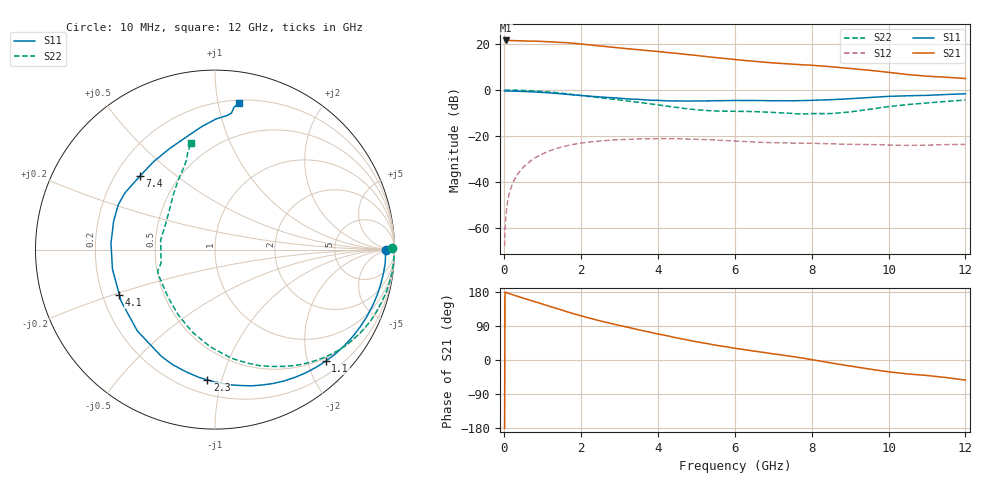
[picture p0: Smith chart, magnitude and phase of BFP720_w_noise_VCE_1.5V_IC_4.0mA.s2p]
! Infineon Technologies  Discrete & RF Semiconductors
! BFP720
! VCE =  1.5 V,  IC =  4.0 mA
! Common Emitter S-Parameters:  Aug 2012
# GHz  S  MA  R  50
!  f  S11  S21  S12  S22
! GHz  MAG  ANG  MAG  ANG  MAG  ANG  MAG  ANG
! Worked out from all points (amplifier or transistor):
!   105 points, 10 MHz to 12 GHz, reference 50 ohm
!   highest |S21| = 21.6 dB at 50 MHz (marker M1)
!   |S21| within 3 dB of that: start of sweep to 2.852 GHz
!   unconditionally stable (mu >= 1): 6.954 GHz to 11.82 GHz
!   at 300 MHz: K = 0.03, MSG = 29.7 dB, |S12| = -37.9 dB
!   at 3.6 GHz: K = 0.43, MSG = 19.3 dB, |S12| = -21.3 dB
!   at 12 GHz: K = 0.93, MSG = 14.3 dB, |S12| = -23.7 dB
!   lowest NFmin = 0.37 dB at 450 MHz
!   S11 on the Smith chart (normalised r, x): 10 MHz: 40, +0; 1.1 GHz: 0.44, -2.33; 2.3 GHz: 0.29, -0.90; 4.1 GHz: 0.27, -0.21; 7.4 GHz: 0.30, +0.37; 12 GHz: 0.22, +1.15
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0.01  0.9507 -0.0  11.94 -179.8  0.0004 -39.9  0.9877 0.5
0.02  0.9513 -0.8  11.84 178.9  0.0008 91.8  0.9984 -0.5
0.05  0.9504 -1.9  12 177.9  0.002 88.7  0.9976 -1.5
0.14  0.95 -5.6  11.99 175.0  0.006 86.4  0.9976 -4.2
0.35  0.9401 -14.1  11.84 168.0  0.0148 81.0  0.9895 -10.5
0.8  0.9068 -32.6  11.61 153.8  0.0333 69.2  0.9546 -24.1
1.1  0.876 -45.2  11.3 144.3  0.0446 61.0  0.9166 -33.3
1.6  0.8124 -66.8  10.78 128.4  0.0605 48.0  0.8332 -48.0
1.8  0.7861 -74.9  10.42 122.3  0.0656 42.9  0.7964 -53.6
2.1  0.748 -86.3  9.845 113.8  0.0717 36.1  0.7426 -61.2
2.3  0.727 -93.4  9.46 108.4  0.0751 31.7  0.7094 -66.2
3  0.6652 -116.8  8.265 91.1  0.0832 18.9  0.6085 -81.9
3.5  0.6266 -133.7  7.557 79.6  0.0862 10.8  0.5412 -93.0
4.1  0.5893 -154.7  6.756 66.7  0.0873 2.2  0.4634 -107.7
4.5  0.5816 -169.2  6.274 58.1  0.0872 -3.2  0.418 -119.2
5  0.5805 176.5  5.662 48.0  0.085 -9.2  0.3732 -134.3
6.1  0.5932 153.9  4.536 29.6  0.077 -18.4  0.3438 -156.3
7.4  0.5852 135.7  3.707 10.7  0.0705 -22.2  0.3126 -165.4
8.5  0.6172 114.2  3.216 -7.7  0.0674 -26.3  0.3075 154.8
9.5  0.6881 96.4  2.694 -23.8  0.0651 -27.7  0.3808 127.9
10.5  0.7504 84.8  2.173 -36.8  0.0625 -28.5  0.4836 111.5
12  0.8293 80.6  1.779 -53.1  0.0656 -30.2  0.6064 102.7
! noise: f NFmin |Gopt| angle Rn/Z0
0.45  0.37  0.56  4  0.21
1.8  0.49  0.52  27  0.15
2.4  0.52  0.39  66  0.2
5.5  0.72  0.26  73  0.11
10  1.02  0.41  -96  0.21
